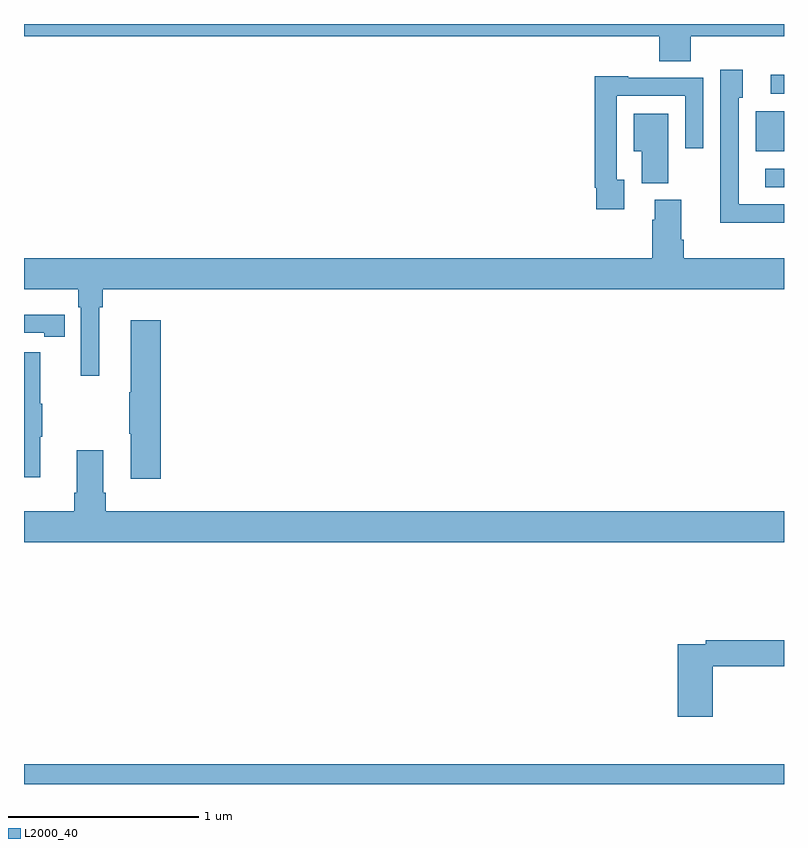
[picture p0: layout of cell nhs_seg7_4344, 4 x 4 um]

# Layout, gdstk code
import gdstk
lib = gdstk.Library(unit=1e-6, precision=1e-09)
def R(c, l, rs):  # rectangles x0, y0, x1, y1
    for r in rs: c.add(gdstk.rectangle(r[:2], r[2:], *l))
def P(c, l, *ps):  # polygons
    for p in ps: c.add(gdstk.Polygon(p, *l))
L2000_40 = (2000, 40)

nhs_seg7_4344 = lib.new_cell('nhs_seg7_4344')
R(nhs_seg7_4344, L2000_40, [(385,1010,389,1010.104), (388.902,1013.142,389,1013.238), (388.85,1013.33,389,1013.541), (388.929,1013.634,389,1013.732)])
P(nhs_seg7_4344, L2000_40, [(388.508,1013.936),(389,1013.936),(389,1014),(385,1014),(385,1013.936),(388.343,1013.936),(388.343,1013.803),(388.508,1013.803)],
  [(389,1013.052),(388.761,1013.052),(388.761,1013.613),(388.783,1013.613),(388.783,1013.758),(388.665,1013.758),(388.665,1013.258),(388.664,1013.258),(388.664,1012.955),(389,1012.955)],
  [(388.159,1013.181),(388.119,1013.181),(388.119,1013.622),(388.479,1013.622),(388.479,1013.346),(388.575,1013.346),(388.575,1013.718),(388.179,1013.718),(388.179,1013.725),(388.003,1013.725),(388.003,1013.137),(388.011,1013.137),(388.011,1013.025),(388.159,1013.025)],
  [(388.39,1013.527),(388.208,1013.527),(388.208,1013.33),(388.25,1013.33),(388.25,1013.161),(388.39,1013.161)],
  [(385.396,1012.508),(385.415,1012.508),(385.415,1012.604),(389,1012.604),(389,1012.768),(388.472,1012.768),(388.472,1012.864),(388.459,1012.864),(388.459,1013.076),(388.319,1013.076),(388.319,1012.97),(388.307,1012.97),(388.307,1012.768),(385,1012.768),(385,1012.604),(385.286,1012.604),(385.286,1012.508),(385.299,1012.508),(385.299,1012.149),(385.396,1012.149)],
  [(385.214,1012.47),(385.106,1012.47),(385.106,1012.471),(385,1012.471),(385,1012.374),(385.106,1012.374),(385.106,1012.354),(385.214,1012.354)],
  [(385.721,1012.441),(385.562,1012.441),(385.562,1012.061),(385.555,1012.061),(385.555,1011.844),(385.562,1011.844),(385.562,1011.606),(385.721,1011.606)],
  [(385.085,1011.827),(385.096,1011.827),(385.096,1012.001),(385.085,1012.001),(385.085,1012.273),(385,1012.273),(385,1011.615),(385.085,1011.615)],
  [(389,1011.436),(385.43,1011.436),(385.43,1011.532),(385.417,1011.532),(385.417,1011.757),(385.277,1011.757),(385.277,1011.532),(385.265,1011.532),(385.265,1011.436),(385,1011.436),(385,1011.272),(389,1011.272)],
  [(388.625,1010.62),(389,1010.62),(389,1010.756),(388.588,1010.756),(388.588,1010.736),(388.442,1010.736),(388.442,1010.355),(388.625,1010.355)])

lib.write_gds('nhs_seg7_4344.gds')
